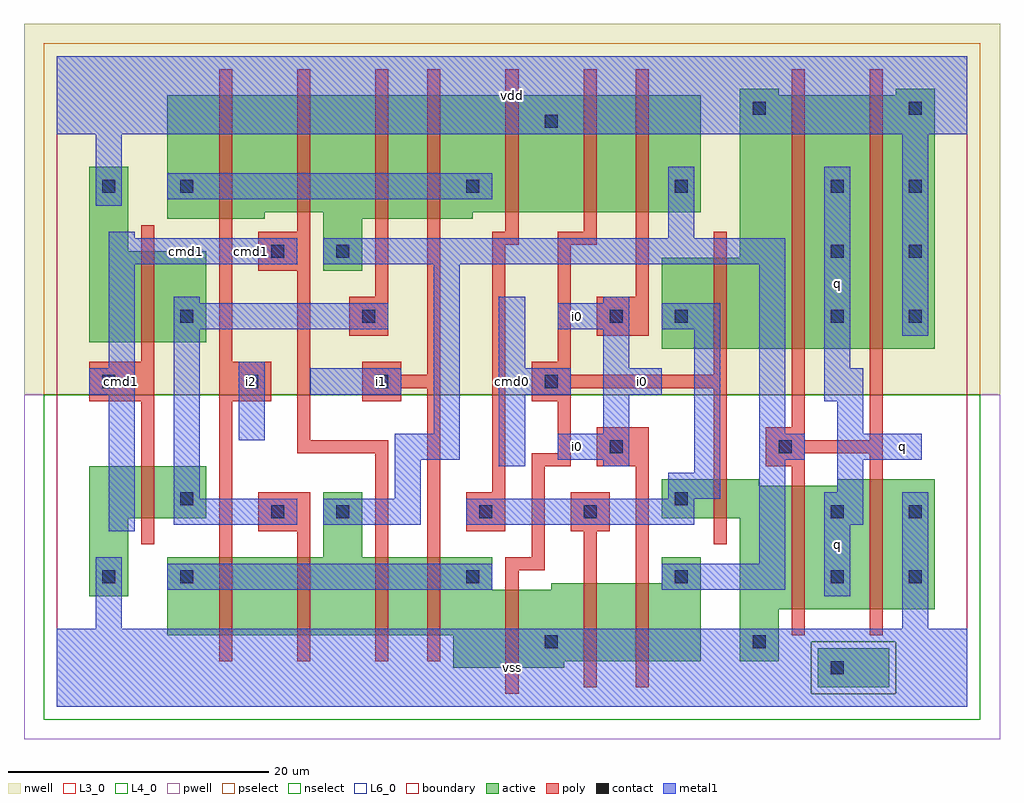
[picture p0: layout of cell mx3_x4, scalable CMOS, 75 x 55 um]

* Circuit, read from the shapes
.subckt mx3_x4 cmd0 cmd1 i0 i1 i2 q vdd vss
M1 n1 cmd1 vss vss nfet w=4u l=1u
M2 n2 i2 n3 vss nfet w=6u l=1u
M3 n4 n1 n2 vss nfet w=6u l=1u
M4 n5 cmd1 n4 vss nfet w=6u l=1u
M5 n3 i1 n5 vss nfet w=6u l=1u
M6 vss cmd0 n3 vss nfet w=6u l=1u
M7 n6 n7 vss vss nfet w=6u l=1u
M8 n4 i0 n6 vss nfet w=6u l=1u
M9 vss cmd0 n7 vss nfet w=3u l=1u
M10 q n4 vss vss nfet w=9.5u l=1u
M11 vss n4 q vss nfet w=10u l=1u
M12 n1 cmd1 vdd n8 pfet w=7u l=1u
M13 n9 i2 n10 n8 pfet w=9.5u l=1u
M14 n4 cmd1 n9 n8 pfet w=9u l=1u
M15 n11 n1 n4 n8 pfet w=9.5u l=1u
M16 n10 i1 n11 n8 pfet w=9.5u l=1u
M17 vdd n7 n10 n8 pfet w=9u l=1u
M18 n12 cmd0 vdd n8 pfet w=9u l=1u
M19 n4 i0 n12 n8 pfet w=9u l=1u
M20 vdd cmd0 n7 n8 pfet w=7u l=1u
M21 q n4 vdd n8 pfet w=19.5u l=1u m=2
.ends

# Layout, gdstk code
import gdstk
lib = gdstk.Library(unit=1e-6, precision=1e-09)
def R(c, l, rs):  # rectangles x0, y0, x1, y1
    for r in rs: c.add(gdstk.rectangle(r[:2], r[2:], *l))
def A(c, l, x, y, w, h, nx, ny, dx, dy):  # array of equal rectangles
    R(c, l, [(x+i*dx, y+j*dy, x+i*dx+w, y+j*dy+h) for i in range(nx) for j in range(ny)])
L3_0 = (3, 0)
L4_0 = (4, 0)
L6_0 = (6, 0)
contact = (25, 0)
pwell = (41, 0)
nwell = (42, 0)
active = (43, 0)
pselect = (44, 0)
nselect = (45, 0)
poly = (46, 0)
metal1 = (49, 0)
boundary = (63, 0)

mx3_x4 = lib.new_cell('mx3_x4')
R(mx3_x4, L3_0, [(30.5,3,39,3.5), (30.5,3.5,49.5,5.5), (52.5,3.5,55.5,7.5), (8.5,5.5,49.5,9), (52.5,7.5,67.5,14.5), (2.5,8.5,5.5,14.5), (8.5,9,33.5,11.5), (38,9,49.5,9.5), (46.5,9.5,49.5,11.5), (20.5,11.5,23.5,16.5), (2.5,14.5,11.5,18.5), (46.5,14.5,67.5,17), (46.5,17,54,17.5), (60,17,67.5,17.5)])
R(mx3_x4, L4_0, [(46.5,27.5,67.5,34.5), (2.5,28,11.5,35), (20.5,33.5,23.5,37.5), (52.5,34.5,67.5,47), (2.5,35,5.5,41.5), (8.5,37.5,16,38), (20.5,37.5,32,38), (8.5,38,49.5,47), (52.5,47,55.5,47.5), (64.5,47,67.5,47.5)])
R(mx3_x4, L6_0, [(58.5,1.5,64,4.5)])
A(mx3_x4, contact, 37.5, 4.5, 1, 1, 1, 3, 0, 20)
A(mx3_x4, contact, 3.5, 9.5, 1, 1, 1, 3, 0, 15)
A(mx3_x4, contact, 59.5, 29.5, 1, 1, 1, 3, 0, 5)
A(mx3_x4, contact, 65.5, 29.5, 1, 1, 1, 3, 0, 5)
R(mx3_x4, contact, [(59.5,2.5,60.5,3.5), (53.5,4.5,54.5,5.5), (9.5,9.5,10.5,10.5), (31.5,9.5,32.5,10.5), (47.5,9.5,48.5,10.5), (59.5,9.5,60.5,10.5), (65.5,9.5,66.5,10.5), (16.5,14.5,17.5,15.5), (21.5,14.5,22.5,15.5), (32.5,14.5,33.5,15.5), (40.5,14.5,41.5,15.5), (59.5,14.5,60.5,15.5), (65.5,14.5,66.5,15.5), (9.5,15.5,10.5,16.5), (47.5,15.5,48.5,16.5), (42.5,19.5,43.5,20.5), (55.5,19.5,56.5,20.5), (14.5,24.5,15.5,25.5), (24.5,24.5,25.5,25.5), (9.5,29.5,10.5,30.5), (23.5,29.5,24.5,30.5), (42.5,29.5,43.5,30.5), (47.5,29.5,48.5,30.5), (16.5,34.5,17.5,35.5), (21.5,34.5,22.5,35.5), (9.5,39.5,10.5,40.5), (31.5,39.5,32.5,40.5), (47.5,39.5,48.5,40.5), (53.5,45.5,54.5,46.5), (65.5,45.5,66.5,46.5)])
R(mx3_x4, pwell, [(-2.5,-2.5,72.5,24)])
R(mx3_x4, nwell, [(-2.5,24,72.5,52.5)])
R(mx3_x4, active, [(58.5,1.5,64,4.5), (30.5,3,39,3.5), (30.5,3.5,49.5,5.5), (52.5,3.5,55.5,7.5), (8.5,5.5,49.5,9), (52.5,7.5,67.5,14.5), (2.5,8.5,5.5,14.5), (8.5,9,33.5,11.5), (38,9,49.5,9.5), (46.5,9.5,49.5,11.5), (20.5,11.5,23.5,16.5), (2.5,14.5,11.5,18.5), (46.5,14.5,67.5,17), (46.5,17,54,17.5), (60,17,67.5,17.5), (46.5,27.5,67.5,34.5), (2.5,28,11.5,35), (20.5,33.5,23.5,37.5), (52.5,34.5,67.5,47), (2.5,35,5.5,41.5), (8.5,37.5,16,38), (20.5,37.5,32,38), (8.5,38,49.5,47), (52.5,47,55.5,47.5), (64.5,47,67.5,47.5)])
R(mx3_x4, pselect, [(58,1,64.5,5), (-1,24,71,51)])
R(mx3_x4, nselect, [(-1,-1,71,1), (-1,1,58,5), (64.5,1,71,5), (-1,5,71,24)])
R(mx3_x4, poly, [(34.5,1,35.5,10.5), (40.5,1.5,41.5,13.5), (44.5,1.5,45.5,18.5), (12.5,3.5,13.5,23.5), (18.5,3.5,19.5,13.5), (24.5,3.5,25.5,19.5), (28.5,3.5,29.5,24.5), (56.5,5.5,57.5,18.5), (62.5,5.5,63.5,19.5), (34.5,10.5,37.5,11.5), (36.5,11.5,37.5,18.5), (6.5,12.5,7.5,23.5), (50.5,12.5,51.5,24.5), (15.5,13.5,19.5,16.5), (31.5,13.5,34.5,16.5), (39.5,13.5,42.5,16.5), (33.5,16.5,34.5,35.5), (36.5,18.5,39.5,19.5), (41.5,18.5,45.5,21.5), (54.5,18.5,57.5,19.5), (18.5,19.5,25.5,20.5), (38.5,19.5,39.5,23.5), (54.5,19.5,63.5,20.5), (18.5,20.5,19.5,33.5), (54.5,20.5,57.5,21.5), (62.5,20.5,63.5,49), (56.5,21.5,57.5,49), (2.5,23.5,7.5,26.5), (12.5,23.5,16.5,26.5), (23.5,23.5,26.5,24.5), (36.5,23.5,39.5,24.5), (23.5,24.5,29.5,25.5), (36.5,24.5,51.5,25.5), (23.5,25.5,26.5,26.5), (28.5,25.5,29.5,49), (36.5,25.5,39.5,26.5), (50.5,25.5,51.5,36.5), (6.5,26.5,7.5,37), (12.5,26.5,13.5,49), (38.5,26.5,39.5,35.5), (22.5,28.5,25.5,31.5), (41.5,28.5,45.5,31.5), (24.5,31.5,25.5,49), (44.5,31.5,45.5,49), (15.5,33.5,19.5,36.5), (33.5,35.5,35.5,36.5), (38.5,35.5,41.5,36.5), (18.5,36.5,19.5,49), (34.5,36.5,35.5,49), (40.5,36.5,41.5,49)])
R(mx3_x4, metal1, [(0,0,70,6), (0,0,70,6), (3,6,5,11.5), (3,6,5,11.5), (65,6,67,16.5), (65,6,67,16.5), (59,8.5,61,14), (59,8.5,61,14), (8.5,9,33.5,11), (8.5,9,33.5,11), (46.5,9,56,11), (46.5,9,56,11), (54,11,56,19), (54,11,56,19), (4,13.5,6,24), (4,13.5,6,24), (9,14,18.5,16), (9,14,18.5,16), (20.5,14,28,16), (20.5,14,28,16), (31.5,14,49,16), (31.5,14,49,16), (59,14,62,16.5), (59,14,62,16.5), (9,16,11,29), (9,16,11,29), (26,16,28,19), (26,16,28,19), (47,16,51,18), (47,16,51,18), (60,16.5,62,19), (60,16.5,62,19), (49,18,51,29), (49,18,51,29), (34,18.5,36,24), (34,18.5,36,24), (42,18.5,44,19), (42,18.5,44,19), (26,19,31,21), (26,19,31,21), (38.5,19,44,21), (38.5,19,44,21), (54,19,57.5,21), (54,19,57.5,21), (60,19,66.5,21), (60,19,66.5,21), (14,20.5,16,26.5), (14,20.5,16,26.5), (29,21,31,34), (29,21,31,34), (42,21,44,24), (42,21,44,24), (54,21,56,34), (54,21,56,34), (60,21,62,23.5), (60,21,62,23.5), (59,23.5,62,26), (59,23.5,62,26), (2.5,24,6,26), (2.5,24,6,26), (19.5,24,26.5,26), (19.5,24,26.5,26), (34,24,39.5,26), (34,24,39.5,26), (42,24,46.5,26), (42,24,46.5,26), (4,26,6,34), (4,26,6,34), (34,26,36,31.5), (34,26,36,31.5), (42,26,44,29), (42,26,44,29), (59,26,61,41.5), (59,26,61,41.5), (65,28.5,67,44), (65,28.5,67,44), (9,29,25.5,31), (9,29,25.5,31), (38.5,29,44,31), (38.5,29,44,31), (46.5,29,51,31), (46.5,29,51,31), (9,31,11,31.5), (9,31,11,31.5), (42,31,44,31.5), (42,31,44,31.5), (4,34,18.5,36), (4,34,18.5,36), (20.5,34,56,36), (20.5,34,56,36), (4,36,6,36.5), (4,36,6,36.5), (47,36,49,41.5), (47,36,49,41.5), (3,38.5,5,44), (3,38.5,5,44), (8.5,39,33.5,41), (8.5,39,33.5,41), (0,44,70,50), (0,44,70,50)])
R(mx3_x4, boundary, [(0,0,70,50)])
mx3_x4.add(gdstk.Label('cmd1', (5,25), layer=49, texttype=0))
mx3_x4.add(gdstk.Label('cmd1', (10,35), layer=49, texttype=0))
mx3_x4.add(gdstk.Label('i2', (15,25), layer=49, texttype=0))
mx3_x4.add(gdstk.Label('i1', (25,25), layer=49, texttype=0))
mx3_x4.add(gdstk.Label('cmd1', (15,35), layer=49, texttype=0))
mx3_x4.add(gdstk.Label('vss', (35,3), layer=49, texttype=0))
mx3_x4.add(gdstk.Label('i0', (40,20), layer=49, texttype=0))
mx3_x4.add(gdstk.Label('cmd0', (35,25), layer=49, texttype=0))
mx3_x4.add(gdstk.Label('i0', (40,30), layer=49, texttype=0))
mx3_x4.add(gdstk.Label('vdd', (35,47), layer=49, texttype=0))
mx3_x4.add(gdstk.Label('i0', (45,25), layer=49, texttype=0))
mx3_x4.add(gdstk.Label('q', (60,12.5), layer=49, texttype=0))
mx3_x4.add(gdstk.Label('q', (65,20), layer=49, texttype=0))
mx3_x4.add(gdstk.Label('q', (60,32.5), layer=49, texttype=0))

lib.write_gds('mx3_x4.gds')
